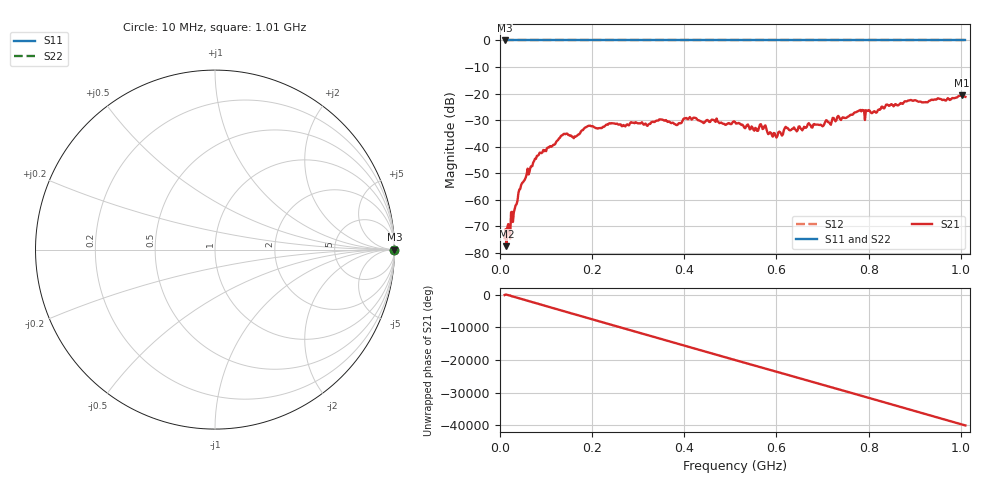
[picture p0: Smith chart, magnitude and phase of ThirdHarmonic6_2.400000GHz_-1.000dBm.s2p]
! 8/17/2025 3:57:19 AM
! C:\ANRITSUVNA\TEMP\TEMP.S2P
! CHANNEL.1
! TR.MEASUREMENT
! RAW.DATA
! RF.CORRECTION.OFF
! AVERAGING.OFF
! IF.BANDWIDTH: 5KHZ
! SWEEPTYPE:  FREQ.SWEEP(Linear)
! Reference Plane Port Info
! PORT:  PORT1  PORT2
! DISTANCE:  0  m  0  m
! TIME:  0  s  0  s
! PHASE.OFFSET:  0  deg.  0  deg.
! LOSS:  0  dB  0  dB
! REF.LOSS:  0  dB  0  dB
! REF.FREQ:  0  Hz  0  Hz
! Power Info
! POWER:  -20  dBm  -20  dBm
! EFF.POWER:  -20  dBm  -20  dBm
! SOURCE.ATTEN:  0  dB  0  dB
! TEST.ATTEN:  0  dB  0  dB
# GHZ S RI R 50.0
! FREQ.GHZ  S11RE  S11IM  S21RE  S21IM  S12RE  S12IM  S22RE  S22IM
!; PortSelection: Port_12
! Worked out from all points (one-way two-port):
!   501 points, 10 MHz to 1.01 GHz, reference 50 ohm
!   highest |S21| = -20.62 dB at 1.002 GHz (marker M1); lowest = -77.6 dB at 14 MHz (marker M2)
!   lowest |S11| = 0.0 dB at 10 MHz (marker M3)
!   |S11| at or under -10 dB: nowhere
!   |S22| runs from 0.0 to 0.0 dB; largest |S21 - S12| = 1.1
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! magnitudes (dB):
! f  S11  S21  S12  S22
! 10 MHz  0.0  -74.5  0.0  0.0
! 14 MHz  0.0  -77.6  0.0  0.0
! 18 MHz  0.0  -69.2  0.0  0.0
! 44 MHz  0.0  -56.0  0.0  0.0
! 78 MHz  0.0  -44.7  0.0  0.0
! 136 MHz  0.0  -35.7  0.0  0.0
! 162 MHz  0.0  -36.2  0.0  0.0
! 178 MHz  0.0  -33.9  0.0  0.0
! 192 MHz  0.0  -32.2  0.0  0.0
! 322 MHz  0.0  -31.7  0.0  0.0
! 344 MHz  0.0  -30.2  0.0  0.0
! 382 MHz  0.0  -31.8  0.0  0.0
! 408 MHz  0.0  -29.7  0.0  0.0
! 510 MHz  0.0  -30.7  0.0  0.0
! 556 MHz  0.0  -33.2  0.0  0.0
! 572 MHz  0.0  -33.2  0.0  0.0
! 596 MHz  0.0  -35.0  0.0  0.0
! 622 MHz  0.0  -33.0  0.0  0.0
! 678 MHz  0.0  -32.9  0.0  0.0
! 844 MHz  0.0  -24.6  0.0  0.0
! 1.002 GHz  0.0  -20.6  0.0  0.0
! 1.01 GHz  0.0  -21.3  0.0  0.0
